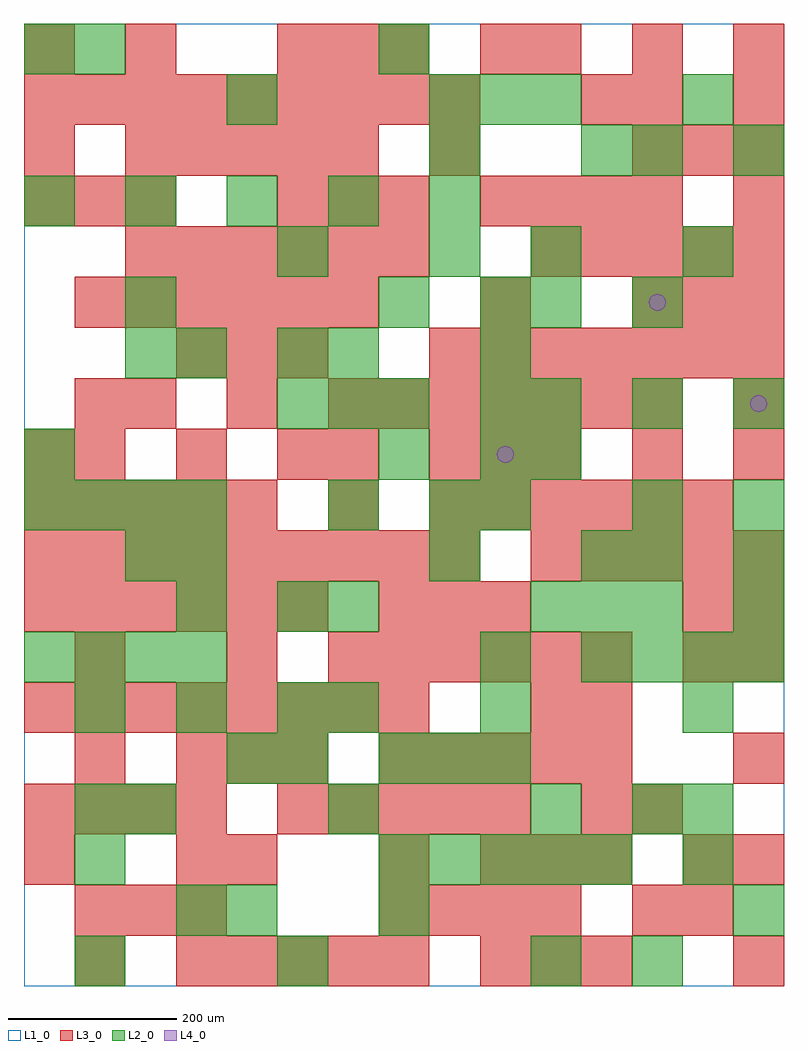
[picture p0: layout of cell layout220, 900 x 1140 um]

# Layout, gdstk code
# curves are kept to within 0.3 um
import gdstk
lib = gdstk.Library(unit=1e-6, precision=1e-09)
def R(c, l, rs):  # rectangles x0, y0, x1, y1
    for r in rs: c.add(gdstk.rectangle(r[:2], r[2:], *l))
def A(c, l, x, y, w, h, nx, ny, dx, dy):  # array of equal rectangles
    R(c, l, [(x+i*dx, y+j*dy, x+i*dx+w, y+j*dy+h) for i in range(nx) for j in range(ny)])
def P(c, l, *ps):  # polygons
    for p in ps: c.add(gdstk.Polygon(p, *l))
L1_0 = (1, 0)
L2_0 = (2, 0)
L3_0 = (3, 0)
L4_0 = (4, 0)

layout220 = lib.new_cell('layout220')
R(layout220, L1_0, [(0,0,900,1140)])
A(layout220, L2_0, 420, 120, 60, 60, 5, 1, 60, 0)
A(layout220, L2_0, 120, 180, 60, 60, 3, 1, 240, 0)
A(layout220, L2_0, 420, 240, 60, 60, 3, 1, 60, 0)
A(layout220, L2_0, 60, 300, 60, 60, 3, 1, 120, 0)
A(layout220, L2_0, 360, 300, 60, 60, 1, 3, 0, 120)
A(layout220, L2_0, 0, 360, 60, 60, 4, 2, 60, 180)
A(layout220, L2_0, 660, 360, 60, 60, 4, 1, 60, 0)
A(layout220, L2_0, 600, 420, 60, 60, 3, 1, 60, 0)
A(layout220, L2_0, 840, 420, 60, 60, 1, 3, 0, 60)
A(layout220, L2_0, 540, 540, 60, 60, 1, 5, 0, 60)
A(layout220, L2_0, 300, 660, 60, 60, 3, 1, 60, 0)
A(layout220, L2_0, 600, 660, 60, 60, 3, 1, 120, 0)
A(layout220, L2_0, 0, 900, 60, 60, 5, 1, 120, 0)
A(layout220, L2_0, 480, 1020, 60, 60, 3, 1, 60, 0)
R(layout220, L2_0, [(60,0,120,60), (300,0,360,60), (600,0,660,60), (720,0,780,60), (180,60,240,120), (240,60,300,120), (420,60,480,120), (840,60,900,120), (60,120,120,180), (780,120,840,180), (60,180,120,240), (720,180,780,240), (780,180,840,240), (240,240,300,300), (300,240,360,300), (540,300,600,360), (780,300,840,360), (540,360,600,420), (180,420,240,480), (300,420,360,480), (120,480,180,540), (180,480,240,540), (480,480,540,540), (660,480,720,540), (720,480,780,540), (480,540,540,600), (720,540,780,600), (0,600,60,660), (420,600,480,660), (600,600,660,660), (120,720,180,780), (180,720,240,780), (300,720,360,780), (360,720,420,780), (120,780,180,840), (420,780,480,840), (600,780,660,840), (720,780,780,840), (300,840,360,900), (480,840,540,900), (600,840,660,900), (780,840,840,900), (480,960,540,1020), (660,960,720,1020), (720,960,780,1020), (840,960,900,1020), (240,1020,300,1080), (780,1020,840,1080), (0,1080,60,1140), (60,1080,120,1140), (420,1080,480,1140)])
A(layout220, L3_0, 180, 0, 60, 60, 5, 1, 60, 0)
A(layout220, L3_0, 540, 0, 60, 60, 3, 2, 60, 120)
A(layout220, L3_0, 840, 0, 60, 60, 1, 4, 0, 120)
A(layout220, L3_0, 60, 60, 60, 60, 3, 1, 60, 0)
A(layout220, L3_0, 420, 60, 60, 60, 4, 1, 60, 0)
A(layout220, L3_0, 0, 180, 60, 60, 4, 1, 60, 0)
A(layout220, L3_0, 300, 180, 60, 60, 5, 1, 60, 0)
A(layout220, L3_0, 720, 180, 60, 60, 1, 3, 0, 420)
A(layout220, L3_0, 180, 240, 60, 60, 3, 2, 60, 480)
A(layout220, L3_0, 420, 240, 60, 60, 5, 1, 60, 0)
A(layout220, L3_0, 0, 300, 60, 60, 8, 1, 60, 0)
A(layout220, L3_0, 360, 360, 60, 60, 6, 1, 60, 0)
A(layout220, L3_0, 0, 420, 60, 60, 6, 1, 60, 0)
A(layout220, L3_0, 420, 420, 60, 60, 3, 1, 60, 0)
A(layout220, L3_0, 0, 480, 60, 60, 9, 2, 60, 540)
A(layout220, L3_0, 600, 480, 60, 60, 5, 2, 60, 360)
A(layout220, L3_0, 0, 540, 60, 60, 5, 1, 60, 0)
A(layout220, L3_0, 480, 540, 60, 60, 6, 1, 60, 0)
A(layout220, L3_0, 60, 600, 60, 60, 3, 1, 120, 0)
A(layout220, L3_0, 480, 600, 60, 60, 3, 1, 60, 0)
A(layout220, L3_0, 120, 660, 60, 60, 3, 1, 120, 0)
A(layout220, L3_0, 420, 660, 60, 60, 6, 1, 60, 0)
A(layout220, L3_0, 480, 720, 60, 60, 7, 1, 60, 0)
A(layout220, L3_0, 60, 780, 60, 60, 6, 1, 60, 0)
A(layout220, L3_0, 720, 780, 60, 60, 3, 2, 60, 180)
A(layout220, L3_0, 120, 840, 60, 60, 6, 1, 60, 0)
A(layout220, L3_0, 0, 900, 60, 60, 3, 1, 60, 0)
A(layout220, L3_0, 300, 900, 60, 60, 3, 2, 60, 180)
A(layout220, L3_0, 540, 900, 60, 60, 4, 1, 60, 0)
A(layout220, L3_0, 120, 960, 60, 60, 5, 1, 60, 0)
A(layout220, L3_0, 600, 1080, 60, 60, 3, 1, 120, 0)
R(layout220, L3_0, [(60,0,120,60), (720,60,780,120), (780,60,840,120), (0,120,60,180), (180,120,240,180), (240,120,300,180), (420,120,480,180), (780,120,840,180), (660,180,720,240), (60,240,120,300), (600,300,660,360), (660,300,720,360), (60,360,120,420), (240,360,300,420), (780,360,840,420), (780,420,840,480), (840,420,900,480), (360,540,420,600), (0,600,60,660), (360,600,420,660), (840,600,900,660), (60,660,120,720), (840,660,900,720), (540,780,600,840), (840,900,900,960), (0,960,60,1020), (480,960,540,1020), (660,1020,720,1080), (840,1020,900,1080), (0,1080,60,1140), (120,1080,180,1140), (540,1080,600,1140)])
P(layout220, L4_0, [(580,630),(579.239,633.827),(577.071,637.071),(573.827,639.239),(570,640),(566.173,639.239),(562.929,637.071),(560.761,633.827),(560,630),(560.761,626.173),(562.929,622.929),(566.173,620.761),(570,620),(573.827,620.761),(577.071,622.929),(579.239,626.173)],
  [(760,810),(759.239,813.827),(757.071,817.071),(753.827,819.239),(750,820),(746.173,819.239),(742.929,817.071),(740.761,813.827),(740,810),(740.761,806.173),(742.929,802.929),(746.173,800.761),(750,800),(753.827,800.761),(757.071,802.929),(759.239,806.173)],
  [(880,690),(879.239,693.827),(877.071,697.071),(873.827,699.239),(870,700),(866.173,699.239),(862.929,697.071),(860.761,693.827),(860,690),(860.761,686.173),(862.929,682.929),(866.173,680.761),(870,680),(873.827,680.761),(877.071,682.929),(879.239,686.173)])

lib.write_gds('layout220.gds')
